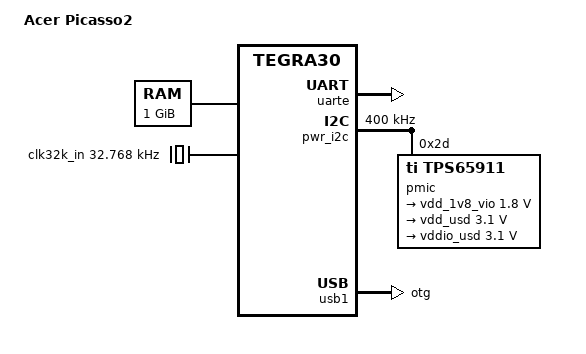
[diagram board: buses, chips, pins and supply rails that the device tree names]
/dts-v1/;

#include "tegra30.dtsi"

/ {
	model = "Acer Picasso2";
	compatible = "acer,picasso2", "nvidia,tegra30";

	chosen {
		stdout-path = &uarte;
	};

	aliases {
		i2c0 = &pwr_i2c;

		rtc0 = &pmic;
		rtc1 = "/rtc@7000e000";

		usb0 = &usb1;
	};

	memory {
		device_type = "memory";
		reg = <0x80000000 0x40000000>;
	};

    pinmux@70000868 {
        pinctrl-names = "default";
        pinctrl-0 = <&state_default>;

        state_default: pinmux {
            dap3_sclk_pp3 {
                nvidia,pins = "dap3_sclk_pp3";
                nvidia,function = "i2s2";
                nvidia,pull = <TEGRA_PIN_PULL_DOWN>;
                nvidia,tristate = <TEGRA_PIN_DISABLE>;
                nvidia,enable-input = <TEGRA_PIN_DISABLE>;
            };

            spi2_cs1_n_pw2 {
                nvidia,pins = "spi2_cs1_n_pw2";
                nvidia,function = "spi2";
                nvidia,pull = <TEGRA_PIN_PULL_UP>;
                nvidia,tristate = <TEGRA_PIN_ENABLE>;
                nvidia,enable-input = <TEGRA_PIN_ENABLE>;
            };

            gmi_ad10_ph2 {
                nvidia,pins = "gmi_ad10_ph2";
                nvidia,function = "nand";
                nvidia,pull = <TEGRA_PIN_PULL_DOWN>;
                nvidia,tristate = <TEGRA_PIN_DISABLE>;
                nvidia,enable-input = <TEGRA_PIN_DISABLE>;
            };

            ulpi_data4_po5 {
                nvidia,pins = "ulpi_data4_po5";
                nvidia,function = "uarta";
                nvidia,pull = <TEGRA_PIN_PULL_UP>;
                nvidia,tristate = <TEGRA_PIN_DISABLE>;
                nvidia,enable-input = <TEGRA_PIN_ENABLE>;
            };

            ulpi_data6_po7 {
                nvidia,pins = "ulpi_data6_po7", "ulpi_data0_po1", "ulpi_data2_po3", "ulpi_data5_po6", "ulpi_data7_po0";
                nvidia,function = "uarta";
                nvidia,pull = <TEGRA_PIN_PULL_NONE>;
                nvidia,tristate = <TEGRA_PIN_DISABLE>;
                nvidia,enable-input = <TEGRA_PIN_DISABLE>;
            };

            gmi_dqs_pi2 {
                nvidia,pins = "gmi_dqs_pi2", "pu1", "pu2";
                nvidia,function = "rsvd1";
                nvidia,pull = <TEGRA_PIN_PULL_NONE>;
                nvidia,tristate = <TEGRA_PIN_DISABLE>;
                nvidia,enable-input = <TEGRA_PIN_DISABLE>;
            };

            clk1_out_pw4 {
                nvidia,pins = "clk1_out_pw4";
                nvidia,function = "extperiph1";
                nvidia,pull = <TEGRA_PIN_PULL_NONE>;
                nvidia,tristate = <TEGRA_PIN_DISABLE>;
                nvidia,enable-input = <TEGRA_PIN_ENABLE>;
            };

            dap1_din_pn1 {
                nvidia,pins = "dap1_din_pn1";
                nvidia,function = "i2s0";
                nvidia,pull = <TEGRA_PIN_PULL_DOWN>;
                nvidia,tristate = <TEGRA_PIN_DISABLE>;
                nvidia,enable-input = <TEGRA_PIN_DISABLE>;
            };

            dap1_dout_pn2 {
                nvidia,pins = "dap1_dout_pn2";
                nvidia,function = "i2s0";
                nvidia,pull = <TEGRA_PIN_PULL_DOWN>;
                nvidia,tristate = <TEGRA_PIN_ENABLE>;
                nvidia,enable-input = <TEGRA_PIN_ENABLE>;
            };

            dap1_fs_pn0 {
                nvidia,pins = "dap1_fs_pn0", "dap1_sclk_pn3";
                nvidia,function = "i2s0";
                nvidia,pull = <TEGRA_PIN_PULL_NONE>;
                nvidia,tristate = <TEGRA_PIN_DISABLE>;
                nvidia,enable-input = <TEGRA_PIN_DISABLE>;
            };

            dap2_din_pa4 {
                nvidia,pins = "dap2_din_pa4", "dap2_dout_pa5", "dap2_fs_pa2", "dap2_sclk_pa3";
                nvidia,function = "i2s1";
                nvidia,pull = <TEGRA_PIN_PULL_NONE>;
                nvidia,tristate = <TEGRA_PIN_DISABLE>;
                nvidia,enable-input = <TEGRA_PIN_ENABLE>;
            };

            spdif_in_pk6 {
                nvidia,pins = "spdif_in_pk6", "spdif_out_pk5";
                nvidia,function = "spdif";
                nvidia,pull = <TEGRA_PIN_PULL_NONE>;
                nvidia,tristate = <TEGRA_PIN_DISABLE>;
                nvidia,enable-input = <TEGRA_PIN_DISABLE>;
            };

            spi1_cs0_n_px6 {
                nvidia,pins = "spi1_cs0_n_px6", "spi1_mosi_px4", "spi1_sck_px5";
                nvidia,function = "spi1";
                nvidia,pull = <TEGRA_PIN_PULL_NONE>;
                nvidia,tristate = <TEGRA_PIN_DISABLE>;
                nvidia,enable-input = <TEGRA_PIN_DISABLE>;
            };

            spi1_miso_px7 {
                nvidia,pins = "spi1_miso_px7";
                nvidia,function = "spi1";
                nvidia,pull = <TEGRA_PIN_PULL_DOWN>;
                nvidia,tristate = <TEGRA_PIN_ENABLE>;
                nvidia,enable-input = <TEGRA_PIN_ENABLE>;
            };

            spi2_cs0_n_px3 {
                nvidia,pins = "spi2_cs0_n_px3", "spi2_miso_px1";
                nvidia,function = "spi2";
                nvidia,pull = <TEGRA_PIN_PULL_NONE>;
                nvidia,tristate = <TEGRA_PIN_ENABLE>;
                nvidia,enable-input = <TEGRA_PIN_ENABLE>;
            };

            spi2_cs2_n_pw3 {
                nvidia,pins = "spi2_cs2_n_pw3";
                nvidia,function = "spi2";
                nvidia,pull = <TEGRA_PIN_PULL_DOWN>;
                nvidia,tristate = <TEGRA_PIN_ENABLE>;
                nvidia,enable-input = <TEGRA_PIN_ENABLE>;
            };

            spi2_mosi_px0 {
                nvidia,pins = "spi2_mosi_px0", "spi2_sck_px2";
                nvidia,function = "spi2";
                nvidia,pull = <TEGRA_PIN_PULL_NONE>;
                nvidia,tristate = <TEGRA_PIN_DISABLE>;
                nvidia,enable-input = <TEGRA_PIN_DISABLE>;
            };

            dap3_din_pp1 {
                nvidia,pins = "dap3_din_pp1";
                nvidia,function = "i2s2";
                nvidia,pull = <TEGRA_PIN_PULL_NONE>;
                nvidia,tristate = <TEGRA_PIN_DISABLE>;
                nvidia,enable-input = <TEGRA_PIN_DISABLE>;
            };

            pv0 {
                nvidia,pins = "pv0", "pv1", "gmi_cs2_n_pk3", "gmi_iordy_pi5";
                nvidia,function = "rsvd1";
                nvidia,pull = <TEGRA_PIN_PULL_NONE>;
                nvidia,tristate = <TEGRA_PIN_ENABLE>;
                nvidia,enable-input = <TEGRA_PIN_ENABLE>;
            };

            ulpi_clk_py0 {
                nvidia,pins = "ulpi_clk_py0", "ulpi_nxt_py2", "ulpi_stp_py3";
                nvidia,function = "uartd";
                nvidia,pull = <TEGRA_PIN_PULL_NONE>;
                nvidia,tristate = <TEGRA_PIN_DISABLE>;
                nvidia,enable-input = <TEGRA_PIN_DISABLE>;
            };

            ulpi_data1_po2 {
                nvidia,pins = "ulpi_data1_po2";
                nvidia,function = "uarta";
                nvidia,pull = <TEGRA_PIN_PULL_NONE>;
                nvidia,tristate = <TEGRA_PIN_DISABLE>;
                nvidia,enable-input = <TEGRA_PIN_ENABLE>;
            };

            ulpi_data3_po4 {
                nvidia,pins = "ulpi_data3_po4";
                nvidia,function = "uarta";
                nvidia,pull = <TEGRA_PIN_PULL_NONE>;
                nvidia,tristate = <TEGRA_PIN_ENABLE>;
                nvidia,enable-input = <TEGRA_PIN_ENABLE>;
            };

            ulpi_dir_py1 {
                nvidia,pins = "ulpi_dir_py1";
                nvidia,function = "uartd";
                nvidia,pull = <TEGRA_PIN_PULL_NONE>;
                nvidia,tristate = <TEGRA_PIN_DISABLE>;
                nvidia,enable-input = <TEGRA_PIN_ENABLE>;
            };

            pbb3 {
                nvidia,pins = "pbb3";
                nvidia,function = "vgp3";
                nvidia,pull = <TEGRA_PIN_PULL_NONE>;
                nvidia,tristate = <TEGRA_PIN_DISABLE>;
                nvidia,enable-input = <TEGRA_PIN_DISABLE>;
            };

            pbb4 {
                nvidia,pins = "pbb4";
                nvidia,function = "vgp4";
                nvidia,pull = <TEGRA_PIN_PULL_NONE>;
                nvidia,tristate = <TEGRA_PIN_DISABLE>;
                nvidia,enable-input = <TEGRA_PIN_DISABLE>;
            };

            pbb5 {
                nvidia,pins = "pbb5";
                nvidia,function = "vgp5";
                nvidia,pull = <TEGRA_PIN_PULL_NONE>;
                nvidia,tristate = <TEGRA_PIN_DISABLE>;
                nvidia,enable-input = <TEGRA_PIN_DISABLE>;
            };

            pbb6 {
                nvidia,pins = "pbb6";
                nvidia,function = "vgp6";
                nvidia,pull = <TEGRA_PIN_PULL_NONE>;
                nvidia,tristate = <TEGRA_PIN_ENABLE>;
                nvidia,enable-input = <TEGRA_PIN_ENABLE>;
            };

            pbb7 {
                nvidia,pins = "pbb7", "pcc2";
                nvidia,function = "i2s4";
                nvidia,pull = <TEGRA_PIN_PULL_NONE>;
                nvidia,tristate = <TEGRA_PIN_DISABLE>;
                nvidia,enable-input = <TEGRA_PIN_DISABLE>;
            };

            gmi_a16_pj7 {
                nvidia,pins = "gmi_a16_pj7", "gmi_a17_pb0", "gmi_a18_pb1";
                nvidia,function = "spi4";
                nvidia,pull = <TEGRA_PIN_PULL_NONE>;
                nvidia,tristate = <TEGRA_PIN_DISABLE>;
                nvidia,enable-input = <TEGRA_PIN_DISABLE>;
            };

            gmi_ad0_pg0 {
                nvidia,pins = "gmi_ad0_pg0", "gmi_ad1_pg1", "gmi_ad2_pg2", "gmi_ad3_pg3", "gmi_ad4_pg4", "gmi_ad5_pg5", "gmi_ad6_pg6", "gmi_ad7_pg7", "gmi_ad12_ph4", "gmi_ad13_ph5", "gmi_ad14_ph6", "gmi_adv_n_pk0", "gmi_clk_pk1", "gmi_cs1_n_pj2", "gmi_cs3_n_pk4", "gmi_oe_n_pi1", "gmi_wr_n_pi0";
                nvidia,function = "nand";
                nvidia,pull = <TEGRA_PIN_PULL_NONE>;
                nvidia,tristate = <TEGRA_PIN_ENABLE>;
                nvidia,enable-input = <TEGRA_PIN_ENABLE>;
            };

            gmi_ad8_ph0 {
                nvidia,pins = "gmi_ad8_ph0";
                nvidia,function = "pwm0";
                nvidia,pull = <TEGRA_PIN_PULL_NONE>;
                nvidia,tristate = <TEGRA_PIN_DISABLE>;
                nvidia,enable-input = <TEGRA_PIN_DISABLE>;
            };

            gmi_ad9_ph1 {
                nvidia,pins = "gmi_ad9_ph1", "gmi_ad11_ph3";
                nvidia,function = "nand";
                nvidia,pull = <TEGRA_PIN_PULL_NONE>;
                nvidia,tristate = <TEGRA_PIN_DISABLE>;
                nvidia,enable-input = <TEGRA_PIN_DISABLE>;
            };

            gmi_ad15_ph7 {
                nvidia,pins = "gmi_ad15_ph7";
                nvidia,function = "nand";
                nvidia,pull = <TEGRA_PIN_PULL_NONE>;
                nvidia,tristate = <TEGRA_PIN_DISABLE>;
                nvidia,enable-input = <TEGRA_PIN_ENABLE>;
            };

            gmi_cs0_n_pj0 {
                nvidia,pins = "gmi_cs0_n_pj0", "gmi_cs4_n_pk2";
                nvidia,function = "nand";
                nvidia,pull = <TEGRA_PIN_PULL_UP>;
                nvidia,tristate = <TEGRA_PIN_ENABLE>;
                nvidia,enable-input = <TEGRA_PIN_ENABLE>;
            };

            gmi_cs6_n_pi3 {
                nvidia,pins = "gmi_cs6_n_pi3", "gmi_cs7_n_pi6";
                nvidia,function = "nand_alt";
                nvidia,pull = <TEGRA_PIN_PULL_NONE>;
                nvidia,tristate = <TEGRA_PIN_ENABLE>;
                nvidia,enable-input = <TEGRA_PIN_ENABLE>;
            };

            gmi_wait_pi7 {
                nvidia,pins = "gmi_wait_pi7";
                nvidia,function = "nand";
                nvidia,pull = <TEGRA_PIN_PULL_UP>;
                nvidia,tristate = <TEGRA_PIN_DISABLE>;
                nvidia,enable-input = <TEGRA_PIN_DISABLE>;
            };

            gmi_wp_n_pc7 {
                nvidia,pins = "gmi_wp_n_pc7";
                nvidia,function = "rsvd1";
                nvidia,pull = <TEGRA_PIN_PULL_UP>;
                nvidia,tristate = <TEGRA_PIN_DISABLE>;
                nvidia,enable-input = <TEGRA_PIN_ENABLE>;
            };

            crt_hsync_pv6 {
                nvidia,pins = "crt_hsync_pv6", "crt_vsync_pv7";
                nvidia,function = "crt";
                nvidia,pull = <TEGRA_PIN_PULL_NONE>;
                nvidia,tristate = <TEGRA_PIN_DISABLE>;
                nvidia,enable-input = <TEGRA_PIN_DISABLE>;
            };

            hdmi_int_pn7 {
                nvidia,pins = "hdmi_int_pn7";
                nvidia,function = "hdmi";
                nvidia,pull = <TEGRA_PIN_PULL_NONE>;
                nvidia,tristate = <TEGRA_PIN_ENABLE>;
                nvidia,enable-input = <TEGRA_PIN_ENABLE>;
            };

            lcd_cs0_n_pn4 {
                nvidia,pins = "lcd_cs0_n_pn4", "lcd_cs1_n_pw0", "lcd_dc0_pn6", "lcd_dc1_pd2", "lcd_m1_pw1", "lcd_pwr0_pb2", "lcd_pwr1_pc1", "lcd_sck_pz4", "lcd_sdin_pz2", "lcd_sdout_pn5", "lcd_wr_n_pz3";
                nvidia,function = "displaya";
                nvidia,pull = <TEGRA_PIN_PULL_NONE>;
                nvidia,tristate = <TEGRA_PIN_DISABLE>;
                nvidia,enable-input = <TEGRA_PIN_DISABLE>;
            };

            lcd_d0_pe0 {
                nvidia,pins = "lcd_d0_pe0", "lcd_d1_pe1", "lcd_d2_pe2", "lcd_d3_pe3", "lcd_d4_pe4", "lcd_d5_pe5", "lcd_d6_pe6", "lcd_d7_pe7", "lcd_d8_pf0", "lcd_d9_pf1", "lcd_d10_pf2", "lcd_d11_pf3", "lcd_d12_pf4", "lcd_d13_pf5", "lcd_d14_pf6", "lcd_d15_pf7", "lcd_d16_pm0", "lcd_d17_pm1", "lcd_d18_pm2", "lcd_d19_pm3", "lcd_d20_pm4", "lcd_d21_pm5", "lcd_d22_pm6", "lcd_d23_pm7", "lcd_de_pj1", "lcd_hsync_pj3", "lcd_pclk_pb3", "lcd_vsync_pj4";
                nvidia,function = "displaya";
                nvidia,pull = <TEGRA_PIN_PULL_NONE>;
                nvidia,tristate = <TEGRA_PIN_DISABLE>;
                nvidia,enable-input = <TEGRA_PIN_ENABLE>;
            };

            lcd_pwr2_pc6 {
                nvidia,pins = "lcd_pwr2_pc6";
                nvidia,function = "displaya";
                nvidia,pull = <TEGRA_PIN_PULL_DOWN>;
                nvidia,tristate = <TEGRA_PIN_DISABLE>;
                nvidia,enable-input = <TEGRA_PIN_DISABLE>;
            };

            pex_l2_clkreq_n_pcc7 {
                nvidia,pins = "pex_l2_clkreq_n_pcc7", "pex_l2_prsnt_n_pdd7", "pex_l2_rst_n_pcc6", "pex_wake_n_pdd3", "pex_l0_rst_n_pdd1", "pex_l1_rst_n_pdd5";
                nvidia,function = "pcie";
                nvidia,pull = <TEGRA_PIN_PULL_NONE>;
                nvidia,tristate = <TEGRA_PIN_DISABLE>;
                nvidia,enable-input = <TEGRA_PIN_DISABLE>;
            };

            clk2_out_pw5 {
                nvidia,pins = "clk2_out_pw5";
                nvidia,function = "extperiph2";
                nvidia,pull = <TEGRA_PIN_PULL_UP>;
                nvidia,tristate = <TEGRA_PIN_DISABLE>;
                nvidia,enable-input = <TEGRA_PIN_DISABLE>;
            };

            clk2_req_pcc5 {
                nvidia,pins = "clk2_req_pcc5";
                nvidia,function = "dap";
                nvidia,pull = <TEGRA_PIN_PULL_NONE>;
                nvidia,tristate = <TEGRA_PIN_DISABLE>;
                nvidia,enable-input = <TEGRA_PIN_DISABLE>;
            };

            pv2 {
                nvidia,pins = "pv2", "kb_row5_pr5", "owr";
                nvidia,function = "owr";
                nvidia,pull = <TEGRA_PIN_PULL_NONE>;
                nvidia,tristate = <TEGRA_PIN_DISABLE>;
                nvidia,enable-input = <TEGRA_PIN_DISABLE>;
            };

            /* FOR DEBUGGING ONLY: remove sd function from sdcard pins
            sdmmc1_clk_pz0 {
                nvidia,pins = "sdmmc1_clk_pz0";
                nvidia,function = "sdmmc1";
                nvidia,pull = <TEGRA_PIN_PULL_NONE>;
                nvidia,tristate = <TEGRA_PIN_DISABLE>;
                nvidia,enable-input = <TEGRA_PIN_ENABLE>;
            };

            sdmmc1_cmd_pz1 {
                nvidia,pins = "sdmmc1_cmd_pz1", "sdmmc1_dat0_py7", "sdmmc1_dat1_py6", "sdmmc1_dat2_py5", "sdmmc1_dat3_py4";
                nvidia,function = "sdmmc1";
                nvidia,pull = <TEGRA_PIN_PULL_UP>;
                nvidia,tristate = <TEGRA_PIN_DISABLE>;
                nvidia,enable-input = <TEGRA_PIN_ENABLE>;
            };
            */

            /* FOR DEBUGGING ONLY: RXD and CTS for uarte on sdcard pins */
            sdmmc1_dat2_py5 {
                    nvidia,pins = "sdmmc1_dat2_py5",
                    "sdmmc1_dat1_py6";
                nvidia,function = "uarte";
                nvidia,pull = <TEGRA_PIN_PULL_NONE>;
                nvidia,tristate = <TEGRA_PIN_DISABLE>;
                nvidia,enable-input = <TEGRA_PIN_ENABLE>;
            };

            /* FOR DEBUGGING ONLY: TXD and RTS for uarte on sdcard pins */
            sdmmc1_dat3_py4 {
                nvidia,pins = "sdmmc1_dat0_py7",
                    "sdmmc1_dat3_py4";
                nvidia,function = "uarte";
                nvidia,pull = <TEGRA_PIN_PULL_NONE>;
                nvidia,tristate = <TEGRA_PIN_DISABLE>;
                nvidia,enable-input = <TEGRA_PIN_DISABLE>;
            };

            sdmmc3_clk_pa6 {
                nvidia,pins = "sdmmc3_clk_pa6";
                nvidia,function = "sdmmc3";
                nvidia,pull = <TEGRA_PIN_PULL_NONE>;
                nvidia,tristate = <TEGRA_PIN_DISABLE>;
                nvidia,enable-input = <TEGRA_PIN_ENABLE>;
            };

            sdmmc3_cmd_pa7 {
                nvidia,pins = "sdmmc3_cmd_pa7", "sdmmc3_dat0_pb7", "sdmmc3_dat1_pb6", "sdmmc3_dat2_pb5", "sdmmc3_dat3_pb4";
                nvidia,function = "sdmmc3";
                nvidia,pull = <TEGRA_PIN_PULL_UP>;
                nvidia,tristate = <TEGRA_PIN_DISABLE>;
                nvidia,enable-input = <TEGRA_PIN_ENABLE>;
            };

            sdmmc3_dat4_pd1 {
                nvidia,pins = "sdmmc3_dat4_pd1", "sdmmc3_dat5_pd0", "sdmmc3_dat6_pd3", "sdmmc3_dat7_pd4";
                nvidia,function = "sdmmc3";
                nvidia,pull = <TEGRA_PIN_PULL_NONE>;
                nvidia,tristate = <TEGRA_PIN_DISABLE>;
                nvidia,enable-input = <TEGRA_PIN_DISABLE>;
            };

            sdmmc4_clk_pcc4 {
                nvidia,pins = "sdmmc4_clk_pcc4", "sdmmc4_cmd_pt7";
                nvidia,function = "sdmmc4";
                nvidia,pull = <TEGRA_PIN_PULL_NONE>;
                nvidia,tristate = <TEGRA_PIN_DISABLE>;
                nvidia,enable-input = <TEGRA_PIN_ENABLE>;
            };

            sdmmc4_dat0_paa0 {
                nvidia,pins = "sdmmc4_dat0_paa0", "sdmmc4_dat1_paa1", "sdmmc4_dat2_paa2", "sdmmc4_dat3_paa3", "sdmmc4_dat4_paa4", "sdmmc4_dat5_paa5", "sdmmc4_dat6_paa6", "sdmmc4_dat7_paa7";
                nvidia,function = "sdmmc4";
                nvidia,pull = <TEGRA_PIN_PULL_UP>;
                nvidia,tristate = <TEGRA_PIN_DISABLE>;
                nvidia,enable-input = <TEGRA_PIN_ENABLE>;
            };

            clk_32k_out_pa0 {
                nvidia,pins = "clk_32k_out_pa0";
                nvidia,function = "blink";
                nvidia,pull = <TEGRA_PIN_PULL_NONE>;
                nvidia,tristate = <TEGRA_PIN_DISABLE>;
                nvidia,enable-input = <TEGRA_PIN_DISABLE>;
            };

            hdmi_cec_pee3 {
                nvidia,pins = "hdmi_cec_pee3";
                nvidia,function = "cec";
                nvidia,pull = <TEGRA_PIN_PULL_NONE>;
                nvidia,tristate = <TEGRA_PIN_DISABLE>;
                nvidia,enable-input = <TEGRA_PIN_ENABLE>;
            };

            kb_col0_pq0 {
                nvidia,pins = "kb_col0_pq0", "kb_col1_pq1", "kb_col2_pq2", "kb_row12_ps4";
                nvidia,function = "kbc";
                nvidia,pull = <TEGRA_PIN_PULL_UP>;
                nvidia,tristate = <TEGRA_PIN_ENABLE>;
                nvidia,enable-input = <TEGRA_PIN_ENABLE>;
            };

            kb_col3_pq3 {
                nvidia,pins = "kb_col3_pq3", "kb_col4_pq4", "kb_col5_pq5", "kb_col6_pq6", "kb_col7_pq7", "kb_row0_pr0", "kb_row2_pr2", "kb_row4_pr4", "kb_row6_pr6", "kb_row7_pr7", "kb_row9_ps1", "kb_row11_ps3";
                nvidia,function = "kbc";
                nvidia,pull = <TEGRA_PIN_PULL_NONE>;
                nvidia,tristate = <TEGRA_PIN_DISABLE>;
                nvidia,enable-input = <TEGRA_PIN_DISABLE>;
            };

            kb_row3_pr3 {
                nvidia,pins = "kb_row3_pr3";
                nvidia,function = "kbc";
                nvidia,pull = <TEGRA_PIN_PULL_UP>;
                nvidia,tristate = <TEGRA_PIN_DISABLE>;
                nvidia,enable-input = <TEGRA_PIN_DISABLE>;
            };

            kb_row8_ps0 {
                nvidia,pins = "kb_row8_ps0", "kb_row13_ps5";
                nvidia,function = "kbc";
                nvidia,pull = <TEGRA_PIN_PULL_DOWN>;
                nvidia,tristate = <TEGRA_PIN_ENABLE>;
                nvidia,enable-input = <TEGRA_PIN_ENABLE>;
            };

            kb_row10_ps2 {
                nvidia,pins = "kb_row10_ps2", "kb_row14_ps6", "kb_row15_ps7";
                nvidia,function = "kbc";
                nvidia,pull = <TEGRA_PIN_PULL_NONE>;
                nvidia,tristate = <TEGRA_PIN_ENABLE>;
                nvidia,enable-input = <TEGRA_PIN_ENABLE>;
            };

            sys_clk_req_pz5 {
                nvidia,pins = "sys_clk_req_pz5";
                nvidia,function = "sysclk";
                nvidia,pull = <TEGRA_PIN_PULL_NONE>;
                nvidia,tristate = <TEGRA_PIN_DISABLE>;
                nvidia,enable-input = <TEGRA_PIN_DISABLE>;
            };

            clk3_out_pee0 {
                nvidia,pins = "clk3_out_pee0";
                nvidia,function = "extperiph3";
                nvidia,pull = <TEGRA_PIN_PULL_NONE>;
                nvidia,tristate = <TEGRA_PIN_DISABLE>;
                nvidia,enable-input = <TEGRA_PIN_DISABLE>;
            };

            clk3_req_pee1 {
                nvidia,pins = "clk3_req_pee1";
                nvidia,function = "dev3";
                nvidia,pull = <TEGRA_PIN_PULL_NONE>;
                nvidia,tristate = <TEGRA_PIN_DISABLE>;
                nvidia,enable-input = <TEGRA_PIN_DISABLE>;
            };

            dap4_din_pp5 {
                nvidia,pins = "dap4_din_pp5", "dap4_dout_pp6", "dap4_fs_pp4", "dap4_sclk_pp7";
                nvidia,function = "i2s3";
                nvidia,pull = <TEGRA_PIN_PULL_NONE>;
                nvidia,tristate = <TEGRA_PIN_DISABLE>;
                nvidia,enable-input = <TEGRA_PIN_ENABLE>;
            };

            pu4 {
                nvidia,pins = "pu4";
                nvidia,function = "pwm1";
                nvidia,pull = <TEGRA_PIN_PULL_NONE>;
                nvidia,tristate = <TEGRA_PIN_DISABLE>;
                nvidia,enable-input = <TEGRA_PIN_DISABLE>;
            };

            pu5 {
                nvidia,pins = "pu5";
                nvidia,function = "pwm2";
                nvidia,pull = <TEGRA_PIN_PULL_NONE>;
                nvidia,tristate = <TEGRA_PIN_ENABLE>;
                nvidia,enable-input = <TEGRA_PIN_ENABLE>;
            };

            uart2_cts_n_pj5 {
                nvidia,pins = "uart2_cts_n_pj5";
                nvidia,function = "uartb";
                nvidia,pull = <TEGRA_PIN_PULL_NONE>;
                nvidia,tristate = <TEGRA_PIN_DISABLE>;
                nvidia,enable-input = <TEGRA_PIN_ENABLE>;
            };

            uart2_rts_n_pj6 {
                nvidia,pins = "uart2_rts_n_pj6";
                nvidia,function = "uartb";
                nvidia,pull = <TEGRA_PIN_PULL_NONE>;
                nvidia,tristate = <TEGRA_PIN_DISABLE>;
                nvidia,enable-input = <TEGRA_PIN_DISABLE>;
            };

            uart3_cts_n_pa1 {
                nvidia,pins = "uart3_cts_n_pa1", "uart3_rxd_pw7";
                nvidia,function = "uartc";
                nvidia,pull = <TEGRA_PIN_PULL_NONE>;
                nvidia,tristate = <TEGRA_PIN_DISABLE>;
                nvidia,enable-input = <TEGRA_PIN_ENABLE>;
            };

            uart3_rts_n_pc0 {
                nvidia,pins = "uart3_rts_n_pc0", "uart3_txd_pw6";
                nvidia,function = "uartc";
                nvidia,pull = <TEGRA_PIN_PULL_NONE>;
                nvidia,tristate = <TEGRA_PIN_DISABLE>;
                nvidia,enable-input = <TEGRA_PIN_DISABLE>;
            };

            clk1_req_pee2 {
                nvidia,pins = "clk1_req_pee2";
                nvidia,function = "dap";
                nvidia,pull = <TEGRA_PIN_PULL_NONE>;
                nvidia,tristate = <TEGRA_PIN_DISABLE>;
                nvidia,enable-input = <TEGRA_PIN_ENABLE>;
            };

            pex_l0_prsnt_n_pdd0 {
                nvidia,pins = "pex_l0_prsnt_n_pdd0", "pex_l0_clkreq_n_pdd2", "pex_l1_prsnt_n_pdd4", "pex_l1_clkreq_n_pdd6";
                nvidia,function = "pcie";
                nvidia,pull = <TEGRA_PIN_PULL_NONE>;
                nvidia,tristate = <TEGRA_PIN_DISABLE>;
                nvidia,enable-input = <TEGRA_PIN_ENABLE>;
            };

            jtag_rtck_pu7 {
                nvidia,pins = "jtag_rtck_pu7";
                nvidia,function = "rtck";
                nvidia,pull = <TEGRA_PIN_PULL_NONE>;
                nvidia,tristate = <TEGRA_PIN_DISABLE>;
                nvidia,enable-input = <TEGRA_PIN_DISABLE>;
            };


            cam_i2c_scl_pbb1 {
                nvidia,pins = "cam_i2c_scl_pbb1", "cam_i2c_sda_pbb2";
                nvidia,function = "i2c3";
                nvidia,pull = <TEGRA_PIN_PULL_NONE>;
                nvidia,tristate = <TEGRA_PIN_DISABLE>;
                nvidia,enable-input = <TEGRA_PIN_ENABLE>;
                nvidia,open-drain = <TEGRA_PIN_ENABLE>;

            };


            gen2_i2c_scl_pt5 {
                nvidia,pins = "gen2_i2c_scl_pt5", "gen2_i2c_sda_pt6";
                nvidia,function = "i2c2";
                nvidia,pull = <TEGRA_PIN_PULL_NONE>;
                nvidia,tristate = <TEGRA_PIN_DISABLE>;
                nvidia,enable-input = <TEGRA_PIN_ENABLE>;
                nvidia,open-drain = <TEGRA_PIN_ENABLE>;

            };


            ddc_scl_pv4 {
                nvidia,pins = "ddc_scl_pv4", "ddc_sda_pv5";
                nvidia,function = "i2c4";
                nvidia,pull = <TEGRA_PIN_PULL_NONE>;
                nvidia,tristate = <TEGRA_PIN_DISABLE>;
                nvidia,enable-input = <TEGRA_PIN_ENABLE>;
                // nvidia,open-drain = <TEGRA_PIN_ENABLE>;

            };


            pwr_i2c_scl_pz6 {
                nvidia,pins = "pwr_i2c_scl_pz6", "pwr_i2c_sda_pz7";
                nvidia,function = "i2cpwr";
                nvidia,pull = <TEGRA_PIN_PULL_NONE>;
                nvidia,tristate = <TEGRA_PIN_DISABLE>;
                nvidia,enable-input = <TEGRA_PIN_ENABLE>;
                nvidia,open-drain = <TEGRA_PIN_ENABLE>;

            };


            gen1_i2c_scl_pc4 {
                nvidia,pins = "gen1_i2c_scl_pc4", "gen1_i2c_sda_pc5";
                nvidia,function = "i2c1";
                nvidia,pull = <TEGRA_PIN_PULL_NONE>;
                nvidia,tristate = <TEGRA_PIN_DISABLE>;
                nvidia,enable-input = <TEGRA_PIN_ENABLE>;
                nvidia,open-drain = <TEGRA_PIN_ENABLE>;

            };


            vi_d6_pl4 {
                nvidia,pins = "vi_d6_pl4";
                nvidia,function = "vi";
                nvidia,pull = <TEGRA_PIN_PULL_NONE>;
                nvidia,tristate = <TEGRA_PIN_DISABLE>;
                nvidia,enable-input = <TEGRA_PIN_DISABLE>;
                nvidia,ioreset = <0>;
            };

            vi_d8_pl6 {
                nvidia,pins = "vi_d8_pl6", "vi_d9_pl7";
                nvidia,function = "sdmmc2";
                nvidia,pull = <TEGRA_PIN_PULL_NONE>;
                nvidia,tristate = <TEGRA_PIN_DISABLE>;
                nvidia,enable-input = <TEGRA_PIN_ENABLE>;
                nvidia,ioreset = <0>;
            };

            vi_pclk_pt0 {
                nvidia,pins = "vi_pclk_pt0";
                nvidia,function = "rsvd1";
                nvidia,pull = <TEGRA_PIN_PULL_UP>;
                nvidia,tristate = <TEGRA_PIN_ENABLE>;
                nvidia,enable-input = <TEGRA_PIN_ENABLE>;
                nvidia,ioreset = <0>;
            };

            drive_dap2 {
                nvidia,pins = "drive_dap2", "drive_dap1", "drive_dbg", "drive_at5", "drive_gme", "drive_ddc", "drive_ao1", "drive_uart3";
                nvidia,high-speed-mode = <0>;
                nvidia,schmitt = <TEGRA_PIN_ENABLE>;
                nvidia,low-power-mode = <TEGRA_PIN_LP_DRIVE_DIV_1>;
                nvidia,pull-down-strength = <31>;
                nvidia,pull-up-strength = <31>;
                nvidia,slew-rate-rising = <TEGRA_PIN_SLEW_RATE_FASTEST>;
                nvidia,slew-rate-falling = <TEGRA_PIN_SLEW_RATE_FASTEST>;
            };

            drive_sdio1 {
                nvidia,pins = "drive_sdio1", "drive_sdio3";
                nvidia,high-speed-mode = <0>;
                nvidia,schmitt = <TEGRA_PIN_DISABLE>;
                // nvidia,low-power-mode = <TEGRA_PIN_LP_DRIVE_DIV_1>;
                nvidia,pull-down-strength = <46>;
                nvidia,pull-up-strength = <42>;
                nvidia,slew-rate-rising = <TEGRA_PIN_SLEW_RATE_FAST>;
                nvidia,slew-rate-falling = <TEGRA_PIN_SLEW_RATE_FAST>;
            };

            drive_gma {
                nvidia,pins = "drive_gma", "drive_gmb", "drive_gmc", "drive_gmd";
                nvidia,pull-down-strength = <9>;
                nvidia,pull-up-strength = <9>;
                nvidia,slew-rate-rising = <TEGRA_PIN_SLEW_RATE_SLOWEST>;
                nvidia,slew-rate-falling = <TEGRA_PIN_SLEW_RATE_SLOWEST>;
            };
        };
    };


	uarte: serial@70006400 {
		status = "okay";
	};

	pwr_i2c: i2c@7000d000 {
		status = "okay";
		clock-frequency = <400000>;

		/* Texas Instruments TPS659110 PMIC */
		pmic: tps65911@2d {
			compatible = "ti,tps65911";
			reg = <0x2d>;

			interrupts = <GIC_SPI 86 IRQ_TYPE_LEVEL_HIGH>;
			#interrupt-cells = <2>;
			interrupt-controller;

			ti,system-power-controller;

			#gpio-cells = <2>;
			gpio-controller;

			regulators {
				vdd_1v8_vio: vddio {
					regulator-name = "vdd_1v8_gen";
					regulator-min-microvolt = <1800000>;
					regulator-max-microvolt = <1800000>;
					regulator-always-on;
					regulator-boot-on;
				};

				/* uSD slot VDD */
				vdd_usd: ldo2 {
					regulator-name = "vdd_usd";
					regulator-min-microvolt = <3100000>;
					regulator-max-microvolt = <3100000>;
					regulator-boot-on;
				};

				/* uSD slot VDDIO */
				vddio_usd: ldo3 {
					regulator-name = "vddio_usd";
					regulator-min-microvolt = <3100000>;
					regulator-max-microvolt = <3100000>;
					regulator-always-on;
					regulator-boot-on;
				};
			};
		};
	};


	pwr_i2c: i2c@7000d000 {
		status = "okay";
		clock-frequency = <400000>;
	};

	usb1: usb@7d000000 {
		status = "okay";
		dr_mode = "otg";
	};

    usb-phy@7d000000 {
            status = "okay";
            nvidia,hssync-start-delay = <0>;
            nvidia,xcvr-lsfslew = <2>;
            nvidia,xcvr-lsrslew = <2>;
    };

	clk32k_in: clock-32k {
			compatible = "fixed-clock";
			#clock-cells = <0>;
			clock-frequency = <32768>;
			clock-output-names = "pmic-oscillator";
	};
};

&uarte {
	status = "okay";
};
